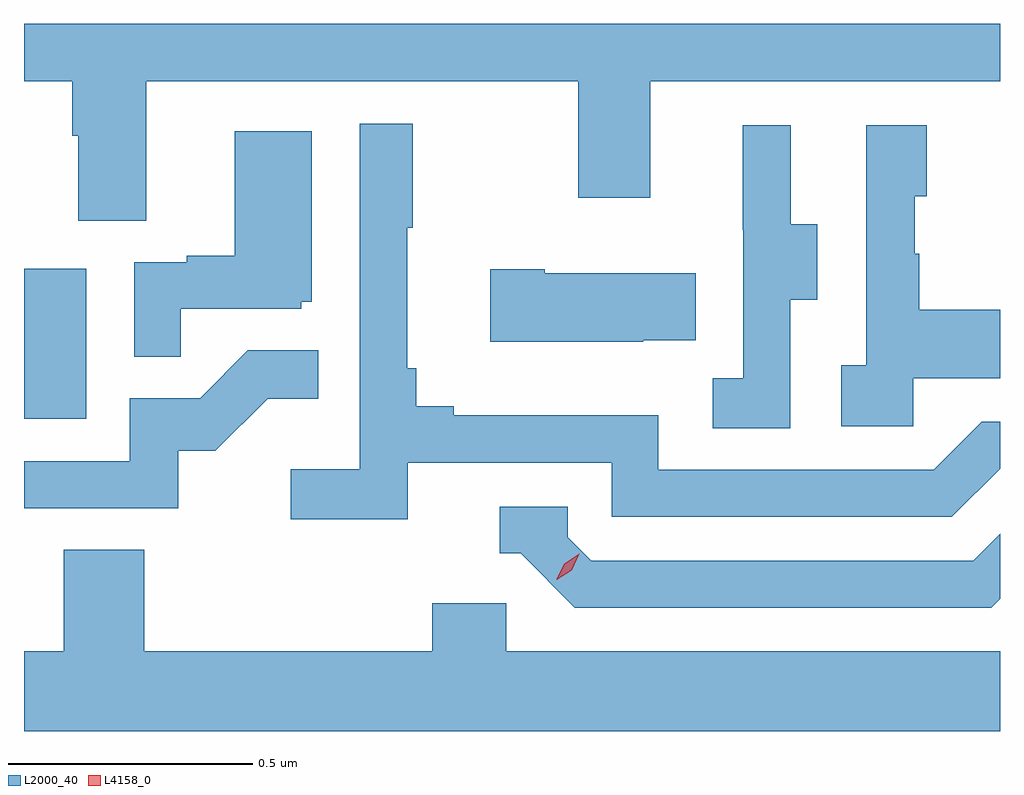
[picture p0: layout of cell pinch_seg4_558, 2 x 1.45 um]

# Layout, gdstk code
import gdstk
lib = gdstk.Library(unit=1e-6, precision=1e-09)
def R(c, l, rs):  # rectangles x0, y0, x1, y1
    for r in rs: c.add(gdstk.rectangle(r[:2], r[2:], *l))
def P(c, l, *ps):  # polygons
    for p in ps: c.add(gdstk.Polygon(p, *l))
L2000_40 = (2000, 40)
L4158_0 = (4158, 0)

pinch_seg4_558 = lib.new_cell('pinch_seg4_558')
R(pinch_seg4_558, L2000_40, [(1125.728,778.812,1125.856,779.119)])
P(pinch_seg4_558, L2000_40, [(1125.979,779.504),(1126.864,779.504),(1126.864,779.265),(1127.011,779.265),(1127.011,779.504),(1127.728,779.504),(1127.728,779.621),(1125.728,779.621),(1125.728,779.504),(1125.827,779.504),(1125.827,779.392),(1125.839,779.392),(1125.839,779.218),(1125.979,779.218)],
  [(1126.514,778.722),(1126.932,778.722),(1126.932,778.611),(1127.629,778.611),(1127.728,778.71),(1127.728,778.806),(1127.691,778.806),(1127.592,778.707),(1127.028,778.707),(1127.028,778.819),(1126.609,778.819),(1126.609,778.838),(1126.532,778.838),(1126.532,778.915),(1126.513,778.915),(1126.513,779.203),(1126.525,779.203),(1126.525,779.416),(1126.416,779.416),(1126.416,778.708),(1126.275,778.708),(1126.275,778.606),(1126.514,778.606)],
  [(1127.55,778.895),(1127.728,778.895),(1127.728,779.035),(1127.563,779.035),(1127.563,779.15),(1127.553,779.15),(1127.553,779.268),(1127.578,779.268),(1127.578,779.413),(1127.454,779.413),(1127.454,778.922),(1127.403,778.922),(1127.403,778.797),(1127.55,778.797)],
  [(1127.298,779.056),(1127.353,779.056),(1127.353,779.211),(1127.299,779.211),(1127.299,779.413),(1127.201,779.413),(1127.201,779.199),(1127.202,779.199),(1127.202,778.895),(1127.139,778.895),(1127.139,778.792),(1127.298,778.792)],
  [(1126.049,779.037),(1126.296,779.037),(1126.296,779.052),(1126.318,779.052),(1126.318,779.401),(1126.16,779.401),(1126.16,779.146),(1126.061,779.146),(1126.061,779.133),(1125.954,779.133),(1125.954,778.939),(1126.049,778.939)],
  [(1126.997,778.973),(1127.105,778.973),(1127.105,779.11),(1126.795,779.11),(1126.795,779.118),(1126.683,779.118),(1126.683,778.97),(1126.997,778.97)],
  [(1126.044,778.746),(1126.12,778.746),(1126.227,778.853),(1126.331,778.853),(1126.331,778.952),(1126.187,778.952),(1126.089,778.854),(1125.945,778.854),(1125.945,778.725),(1125.728,778.725),(1125.728,778.629),(1126.044,778.629)],
  [(1127.728,778.443),(1127.728,778.576),(1127.673,778.521),(1126.89,778.521),(1126.842,778.569),(1126.842,778.632),(1126.703,778.632),(1126.703,778.536),(1126.746,778.536),(1126.857,778.425),(1127.71,778.425)],
  [(1127.728,778.336),(1126.716,778.336),(1126.716,778.434),(1126.565,778.434),(1126.565,778.336),(1125.974,778.336),(1125.974,778.544),(1125.809,778.544),(1125.809,778.336),(1125.728,778.336),(1125.728,778.172),(1127.728,778.172)])
P(pinch_seg4_558, L4158_0, [(1126.82,778.482),(1126.82,778.483),(1126.835,778.515),(1126.866,778.535),(1126.866,778.535),(1126.866,778.535),(1126.85,778.502),(1126.82,778.482)])

lib.write_gds('pinch_seg4_558.gds')
